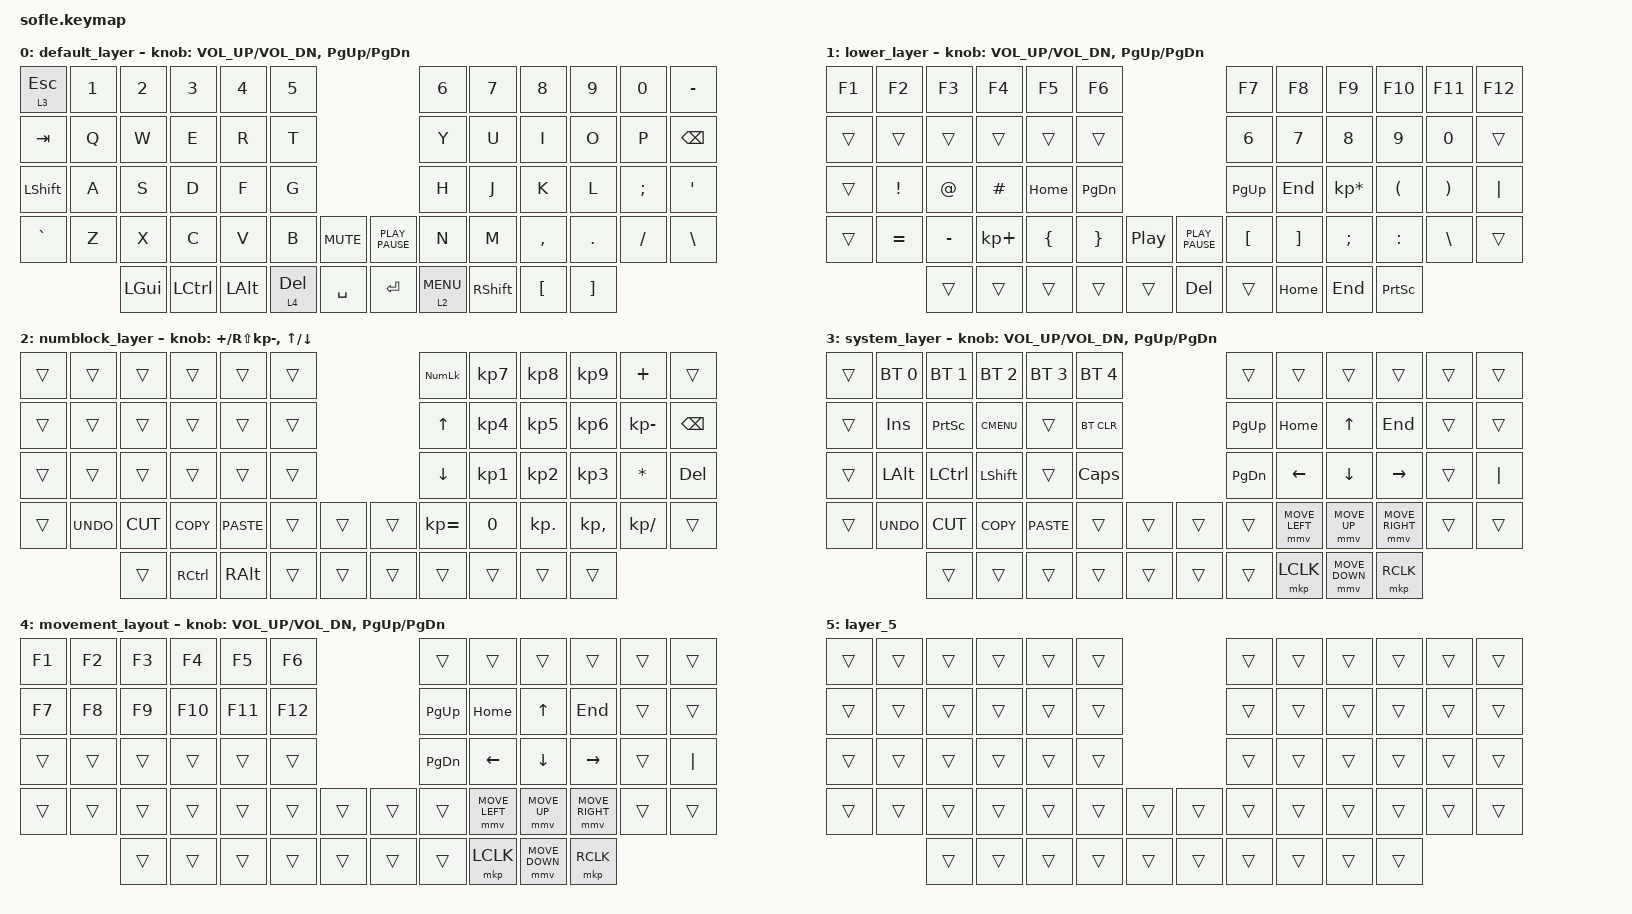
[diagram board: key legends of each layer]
/*
 * Copyright (c) 2020 The ZMK Contributors
 *
 * SPDX-License-Identifier: MIT
 */

#include <behaviors.dtsi>
#include <dt-bindings/zmk/bt.h>
#include <dt-bindings/zmk/keys.h>
#include <dt-bindings/zmk/pointing.h>

/ {
    combos {
        compatible = "zmk,combos";

        cb_figbr {
            bindings = <&kp LEFT_BRACE>;
            key-positions = <16 17>;
            layers = <0>;
        };

        cb_rgbr {
            bindings = <&kp RIGHT_BRACE>;
            key-positions = <18 19>;
        };

        cb_lfsq {
            bindings = <&kp LEFT_BRACKET>;
            key-positions = <28 29>;
        };

        cb_rgsq {
            bindings = <&kp RIGHT_BRACKET>;
            key-positions = <30 31>;
        };

        cb_lfcr {
            bindings = <&kp LESS_THAN>;
            key-positions = <40 41>;
        };

        cb_rgcr {
            bindings = <&kp GREATER_THAN>;
            key-positions = <44 45>;
        };

        cb_lfpt {
            bindings = <&kp LEFT_PARENTHESIS>;
            key-positions = <15 16>;
        };

        cb_rgpt {
            bindings = <&kp RIGHT_PARENTHESIS>;
            key-positions = <19 20>;
        };

        cb_comaru {
            bindings = <&kp RS(SLASH)>;
            key-positions = <29 41>;
        };

        cb_dotru {
            bindings = <&kp QUESTION>;
            key-positions = <30 44>;
        };

        cb+equalplus {
            bindings = <&kp EQUAL>;
            key-positions = <10 11>;
        };

        cb_delete {
            bindings = <&kp DELETE>;
            key-positions = <22 23>;
        };
    };

    keymap {
        compatible = "zmk,keymap";

        default_layer {
            // ------------------------------------------------------------------------------------------------------------
            // |  ESC  |  1  |  2  |  3   |  4   |  5   |                         |  6   |  7    |  8    |  9   |   0   |   -   |
            // |  TAB  |  Q  |  W  |  E   |  R   |  T   |                         |  Y   |  U    |  I    |  O   |   P   | BKSPC |
            // | SHIFT |  A  |  S  |  D   |  F   |  G   |                         |  H   |  J    |  K    |  L   |   ;   |   '   |
            // |  `    |  Z  |  X  |  C   |  V   |  B   |  MUTE  |        | ExtPw |  N   |  M    |  ,    |  .   |   /   |  \    |
            //               | GUI | CTRL | ALT  |LOWER |  SPACE |        | ENTER | RAISE|RSHIFT |  [    |  ]   |

            bindings = <
&lt 3 ESC       &kp N1  &kp N2        &kp N3            &kp N4        &kp N5                                        &kp N6        &kp N7           &kp N8            &kp N9             &kp N0    &kp MINUS
&kp TAB         &kp Q   &kp W         &kp E             &kp R         &kp T                                         &kp Y         &kp U            &kp I             &kp O              &kp P     &kp BACKSPACE
&kp LEFT_SHIFT  &kp A   &kp S         &kp D             &kp F         &kp G                                         &kp H         &kp J            &kp K             &kp L              &kp SEMI  &kp SQT
&kp GRAVE       &kp Z   &kp X         &kp C             &kp V         &kp B         &kp K_MUTE    &kp K_PLAY_PAUSE  &kp N         &kp M            &kp COMMA         &kp DOT            &kp FSLH  &kp BACKSLASH
                        &kp LEFT_GUI  &kp LEFT_CONTROL  &kp LEFT_ALT  &lt 4 DELETE  &kp SPACE     &kp ENTER         &lt 2 K_MENU  &kp RIGHT_SHIFT  &kp LEFT_BRACKET  &kp RIGHT_BRACKET
            >;

            sensor-bindings = <&inc_dec_kp C_VOL_UP C_VOL_DN &inc_dec_kp PG_UP PG_DN>;
        };

        lower_layer {
            // TODO: Some binds are waiting for shifted keycode support.
            // ------------------------------------------------------------------------------------------------------------
            // |    F1 |  F2 |  F3 |  F4  |  F5  |   F6 |                   |  F7  |  F8   |  F9   | F10  |  F11  |  F12  |
            // |       |   1 |   2 |   3  |   4  |   5  |                   |   6  |   7   |   8   |   9  |    0  |       |
            // |       |  !  |  @  |  #   |  $   |  %   |                   |  ^   |  &    |  *    |  (   |   )   |   |   |
            // |       |  =  |  -  |  +   |  {   |  }   |        |  |       |  [   |  ]    |  ;    |  :   |   \   |       |
            //               |     |      |      |      |        |  |       |      |       |       |      |

            bindings = <
&kp F1  &kp F2     &kp F3     &kp F4       &kp F5    &kp F6                                               &kp F7       &kp F8    &kp F9           &kp F10          &kp F11   &kp F12
&trans  &trans     &trans     &trans       &trans    &trans                                               &kp N6       &kp N7    &kp N8           &kp N9           &kp N0    &trans
&trans  &kp EXCL   &kp AT     &kp HASH     &kp HOME  &kp PAGE_DOWN                                        &kp PAGE_UP  &kp END   &kp KP_MULTIPLY  &kp LPAR         &kp RPAR  &kp PIPE
&trans  &kp EQUAL  &kp MINUS  &kp KP_PLUS  &kp LBRC  &kp RBRC       &kp C_PLAY_PAUSE    &kp K_PLAY_PAUSE  &kp LBKT     &kp RBKT  &kp SEMI         &kp COLON        &kp BSLH  &trans
                   &trans     &trans       &trans    &trans         &trans              &kp DEL           &trans       &kp HOME  &kp END          &kp PRINTSCREEN
            >;

            sensor-bindings = <&inc_dec_kp C_VOL_UP C_VOL_DN &inc_dec_kp PG_UP PG_DN>;
        };

        numblock_layer {
            bindings = <
&trans  &trans      &trans     &trans      &trans         &trans                    &kp KP_NUMLOCK  &kp KP_NUMBER_7  &kp KP_NUMBER_8  &kp KP_NUMBER_9  &kp PLUS      &trans
&trans  &trans      &trans     &trans      &trans         &trans                    &kp UP_ARROW    &kp KP_NUMBER_4  &kp KP_NUMBER_5  &kp KP_NUMBER_6  &kp KP_MINUS  &kp BACKSPACE
&trans  &trans      &trans     &trans      &trans         &trans                    &kp DOWN        &kp KP_NUMBER_1  &kp KP_NUMBER_2  &kp KP_NUMBER_3  &kp STAR      &kp DELETE
&trans  &kp K_UNDO  &kp K_CUT  &kp K_COPY  &kp K_PASTE    &trans  &trans    &trans  &kp KP_EQUAL    &kp NUMBER_0     &kp KP_DOT       &kp KP_COMMA     &kp KP_SLASH  &trans
                    &trans     &kp RCTRL   &kp RIGHT_ALT  &trans  &trans    &trans  &trans          &trans           &trans           &trans
            >;

            sensor-bindings =
                <&inc_dec_kp PLUS RS(KP_MINUS)>,
                <&inc_dec_kp UP DOWN>;
        };

        system_layer {
            // ------------------------------------------------------------------------------------------------------------
            // |BTCLR| BT1  | BT2  |  BT3  |  BT4  |  BT5 |                |      |      |       |      |       |       |
            // |     | INS  | PSCR | GUI   |       |      |                | PGUP |      |   ^   |      |       |       |
            // |     | ALT  | CTRL | SHIFT |       | CAPS |                | PGDN |   <- |   v   |  ->  |  DEL  | BKSPC |
            // |     | UNDO | CUT  | COPY  | PASTE |      |      |  |      |      |      |       |      |       |       |
            //              |      |       |       |      |      |  |      |      |      |       |      |

            bindings = <
&trans  &bt BT_SEL 0  &bt BT_SEL 1  &bt BT_SEL 2  &bt BT_SEL 3  &bt BT_SEL 4                    &trans     &trans          &trans          &trans           &trans  &trans
&trans  &kp INS       &kp PSCRN     &kp K_CMENU   &trans        &bt BT_CLR                      &kp PG_UP  &kp HOME        &kp UP_ARROW    &kp END          &trans  &trans
&trans  &kp LALT      &kp LCTRL     &kp LSHFT     &trans        &kp CLCK                        &kp PG_DN  &kp LEFT        &kp DOWN_ARROW  &kp RIGHT        &trans  &kp PIPE
&trans  &kp K_UNDO    &kp K_CUT     &kp K_COPY    &kp K_PASTE   &trans        &trans    &trans  &trans     &mmv MOVE_LEFT  &mmv MOVE_UP    &mmv MOVE_RIGHT  &trans  &trans
                      &trans        &trans        &trans        &trans        &trans    &trans  &trans     &mkp LCLK       &mmv MOVE_DOWN  &mkp RCLK
            >;

            sensor-bindings = <&inc_dec_kp C_VOL_UP C_VOL_DN &inc_dec_kp PG_UP PG_DN>;
        };

        movement_layout {
            // ------------------------------------------------------------------------------------------------------------
            // |BTCLR| BT1  | BT2  |  BT3  |  BT4  |  BT5 |                |      |        |       |        |       |       |
            // |     | INS  | PSCR | GUI   |       |      |                | PGUP | HOME   |   ^   | END    |       |       |
            // |     | ALT  | CTRL | SHIFT |       | CAPS |                | PGDN |   <-   |   v   |  ->    |  DEL  | BKSPC |
            // |     | UNDO | CUT  | COPY  | PASTE |      |      |  |      |      |mLEFT   | mUP   |mRIGHT  |       |       |
            //              |      |       |       |      |      |  |      |      |mL_CLICK| mDOWN |mR_CLICK|
            bindings = <
&kp F1  &kp F2  &kp F3  &kp F4   &kp F5   &kp F6                     &trans     &trans          &trans          &trans           &trans  &trans
&kp F7  &kp F8  &kp F9  &kp F10  &kp F11  &kp F12                    &kp PG_UP  &kp HOME        &kp UP          &kp END          &trans  &trans
&trans  &trans  &trans  &trans   &trans   &trans                     &kp PG_DN  &kp LEFT        &kp DOWN        &kp RIGHT        &trans  &kp PIPE
&trans  &trans  &trans  &trans   &trans   &trans   &trans    &trans  &trans     &mmv MOVE_LEFT  &mmv MOVE_UP    &mmv MOVE_RIGHT  &trans  &trans
                &trans  &trans   &trans   &trans   &trans    &trans  &trans     &mkp LCLK       &mmv MOVE_DOWN  &mkp RCLK
            >;

            sensor-bindings = <&inc_dec_kp C_VOL_UP C_VOL_DN &inc_dec_kp PG_UP PG_DN>;
        };

        layer_5 {
            bindings = <
&trans  &trans  &trans  &trans  &trans  &trans                    &trans  &trans  &trans  &trans  &trans  &trans
&trans  &trans  &trans  &trans  &trans  &trans                    &trans  &trans  &trans  &trans  &trans  &trans
&trans  &trans  &trans  &trans  &trans  &trans                    &trans  &trans  &trans  &trans  &trans  &trans
&trans  &trans  &trans  &trans  &trans  &trans  &trans    &trans  &trans  &trans  &trans  &trans  &trans  &trans
                &trans  &trans  &trans  &trans  &trans    &trans  &trans  &trans  &trans  &trans
            >;
        };
    };
};
